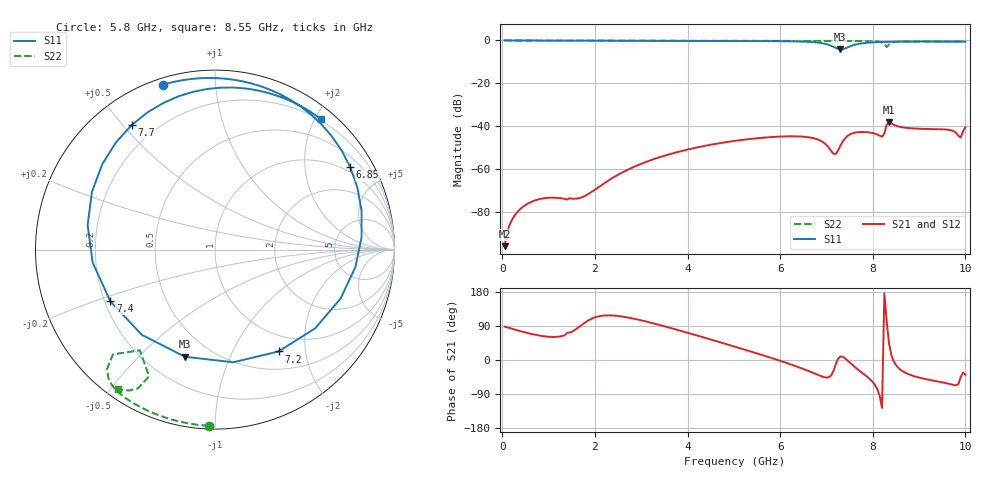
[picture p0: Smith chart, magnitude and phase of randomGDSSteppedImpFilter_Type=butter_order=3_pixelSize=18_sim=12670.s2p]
! freq	dB(S11)	phase(S11)	dB(S12)	phase(S12)
!  dB(S21)	phase(S21)	dB(S22)	phase(S22)
!S-par simulation data
#  GHz  S  DB  R 50
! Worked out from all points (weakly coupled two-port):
!   200 points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, 50 MHz to 10 GHz, reference 50 ohm
!   highest |S21| = -38.11 dB at 8.35 GHz (marker M1); lowest = -95.9 dB at 50 MHz (marker M2)
!   lowest |S11| = -4.2 dB at 7.3 GHz (marker M3), VSWR 4.26, Z = 17.9 - j34.7 ohm
!   |S11| at or under -10 dB: nowhere
!   |S22| runs from -3.1 to 0.0 dB; largest |S21 - S12| = 0
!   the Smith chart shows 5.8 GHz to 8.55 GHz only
!   S11 on the Smith chart (normalised r, x): 5.8 GHz: 0.03, +0.73; 6.85 GHz: 0.82, +3.38; 7.2 GHz: 0.75, -1.54; 7.4 GHz: 0.22, -0.22; 7.7 GHz: 0.12, +0.53; 8.55 GHz: 0.18, +2.10
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0.05  -0.00 -2.8  -95.93 88.2  -95.93 88.2  -0.00 -0.9
0.95  -0.07 -52.1  -73.45 61.8  -73.45 61.8  -0.02 -16.2
1.75  -0.11 -91.6  -72.85 95.7  -72.85 95.7  -0.04 -29.6
3.4  -0.17 -159.5  -54.43 92.3  -54.43 92.3  -0.07 -56.2
4.2  -0.20 171.0  -49.91 64.9  -49.91 64.9  -0.10 -68.6
5.05  -0.25 139.0  -46.74 34.2  -46.74 34.2  -0.13 -81.2
5.8  -0.32 107.4  -45.07 5.8  -45.07 5.8  -0.16 -92.1
6.35  -0.47 77.7  -44.72 -16.8  -44.72 -16.8  -0.18 -99.9
6.7  -0.77 49.5  -45.48 -33.3  -45.48 -33.3  -0.20 -104.8
6.85  -1.09 31.3  -46.51 -41.0  -46.51 -41.0  -0.21 -106.9
7.05  -2.07 -7.1  -49.96 -45.5  -49.96 -45.5  -0.23 -109.7
7.2  -3.49 -58.0  -52.93 -11.6  -52.93 -11.6  -0.24 -111.8
7.3  -4.15 -105.7  -49.12 9.3  -49.12 9.3  -0.25 -113.3
7.4  -3.74 -153.8  -45.69 4.7  -45.69 4.7  -0.26 -114.7
7.5  -2.82 169.1  -43.89 -6.3  -43.89 -6.3  -0.26 -116.2
7.7  -1.57 123.8  -42.73 -27.2  -42.73 -27.2  -0.29 -119.3
8.2  -0.72 72.3  -44.86 -126.7  -44.86 -126.7  -0.93 -132.1
8.35  -0.63 62.5  -38.11 44.6  -38.11 44.6  -1.98 -117.5
8.55  -0.57 50.7  -40.09 -20.4  -40.09 -20.4  -0.50 -124.8
9.2  -0.51 18.8  -41.29 -51.9  -41.29 -51.9  -0.43 -136.1
9.9  -0.58 -10.6  -45.23 -44.6  -45.23 -44.6  -0.52 -145.9
10  -0.54 -14.5  -40.47 -39.1  -40.47 -39.1  -0.53 -147.1
